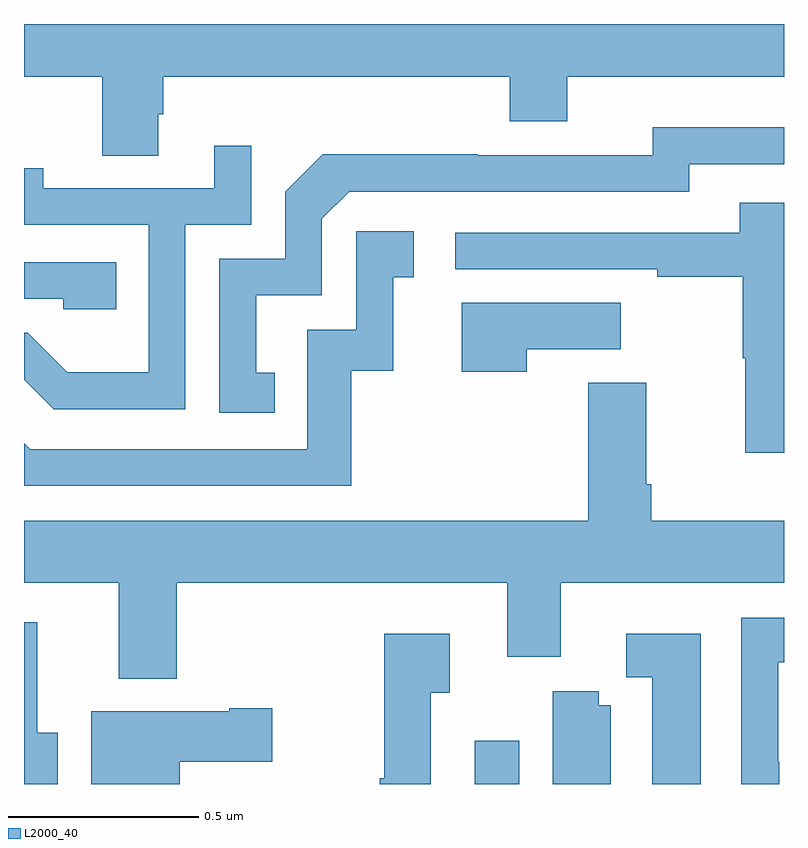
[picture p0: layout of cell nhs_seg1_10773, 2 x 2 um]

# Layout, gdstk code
import gdstk
lib = gdstk.Library(unit=1e-6, precision=1e-09)
def R(c, l, rs):  # rectangles x0, y0, x1, y1
    for r in rs: c.add(gdstk.rectangle(r[:2], r[2:], *l))
def P(c, l, *ps):  # polygons
    for p in ps: c.add(gdstk.Polygon(p, *l))
L2000_40 = (2000, 40)

nhs_seg1_10773 = lib.new_cell('nhs_seg1_10773')
R(nhs_seg1_10773, L2000_40, [(246.186,555.199,246.303,555.313)])
P(nhs_seg1_10773, L2000_40, [(245.353,556.962),(245.366,556.962),(245.366,557.06),(246.278,557.06),(246.278,556.943),(246.43,556.943),(246.43,557.06),(247,557.06),(247,557.199),(245,557.199),(245,557.06),(245.206,557.06),(245.206,556.852),(245.353,556.852)],
  [(245.66,556.281),(245.611,556.281),(245.611,556.485),(245.784,556.485),(245.784,556.686),(245.856,556.758),(246.75,556.758),(246.75,556.83),(247,556.83),(247,556.927),(246.654,556.927),(246.654,556.854),(246.194,556.854),(246.194,556.856),(245.786,556.856),(245.688,556.758),(245.688,556.581),(245.514,556.581),(245.514,556.176),(245.66,556.176)],
  [(245.424,556.671),(245.598,556.671),(245.598,556.879),(245.501,556.879),(245.501,556.767),(245.05,556.767),(245.05,556.819),(245,556.819),(245,556.671),(245.328,556.671),(245.328,556.282),(245.114,556.282),(245.01,556.386),(245,556.386),(245,556.263),(245.078,556.185),(245.424,556.185)],
  [(247,556.729),(246.883,556.729),(246.883,556.65),(246.135,556.65),(246.135,556.554),(246.667,556.554),(246.667,556.534),(246.891,556.534),(246.891,556.32),(246.898,556.32),(246.898,556.071),(247,556.071)],
  [(245.861,556.287),(245.972,556.287),(245.972,556.533),(246.025,556.533),(246.025,556.654),(245.874,556.654),(245.874,556.395),(245.745,556.395),(245.745,556.08),(245.016,556.08),(245,556.096),(245,555.984),(245.861,555.984)],
  [(245.243,556.572),(245,556.572),(245,556.476),(245.103,556.476),(245.103,556.449),(245.243,556.449)],
  [(246.323,556.343),(246.571,556.343),(246.571,556.465),(246.152,556.465),(246.152,556.284),(246.323,556.284)],
  [(245,555.728),(245.249,555.728),(245.249,555.476),(245.402,555.476),(245.402,555.728),(246.272,555.728),(246.272,555.534),(246.412,555.534),(246.412,555.728),(247,555.728),(247,555.892),(246.65,555.892),(246.65,555.988),(246.637,555.988),(246.637,556.255),(246.485,556.255),(246.485,555.892),(245,555.892)],
  [(246.987,555.257),(246.985,555.257),(246.985,555.52),(247,555.52),(247,555.636),(246.888,555.636),(246.888,555.199),(246.987,555.199)],
  [(245.089,555.334),(245.035,555.334),(245.035,555.625),(245,555.625),(245,555.199),(245.089,555.199)],
  [(246.781,555.595),(246.585,555.595),(246.585,555.48),(246.653,555.48),(246.653,555.199),(246.781,555.199)],
  [(246.07,555.439),(246.121,555.439),(246.121,555.595),(245.948,555.595),(245.948,555.214),(245.936,555.214),(245.936,555.199),(246.07,555.199)],
  [(246.544,555.406),(246.512,555.406),(246.512,555.443),(246.392,555.443),(246.392,555.199),(246.544,555.199)],
  [(245.41,555.257),(245.653,555.257),(245.653,555.399),(245.54,555.399),(245.54,555.391),(245.177,555.391),(245.177,555.199),(245.41,555.199)])

lib.write_gds('nhs_seg1_10773.gds')
